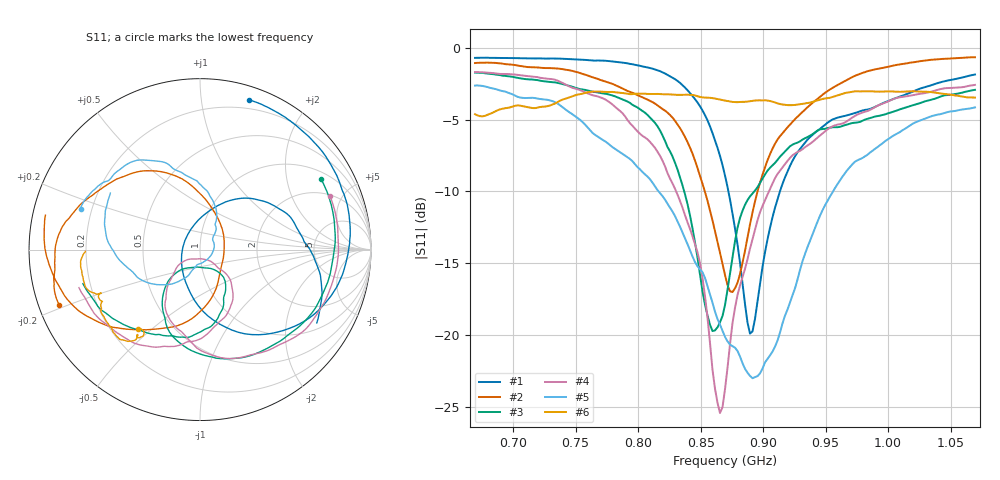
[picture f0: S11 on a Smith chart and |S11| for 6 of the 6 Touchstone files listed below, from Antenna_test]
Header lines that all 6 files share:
#  HZ  S  RI  R  50.00
! Rohde & Schwarz Vector Network Analyzer
! Rohde-Schwarz,ZNB8-2Port,1311601042102944,2.30
! freq[Hz]  re:S22  im:S22
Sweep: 669.5 MHz to 1.069 GHz
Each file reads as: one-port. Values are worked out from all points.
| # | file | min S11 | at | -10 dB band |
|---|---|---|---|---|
| 1 | Dipol.s1p | -19.9 dB | 889.5 MHz | 41.22 MHz wide |
| 2 | Monopol_Long.s1p | -17.0 dB | 875.5 MHz | 42.15 MHz wide |
| 3 | PV_90deg.s1p | -19.7 dB | 859.5 MHz | 56.08 MHz wide |
| 4 | PV_Straight.s1p | -25.4 dB | 865.5 MHz | 74.23 MHz wide |
| 5 | Spiral.s1p | -23.0 dB | 891.5 MHz | 139.6 MHz wide |
| 6 | T3S3_Standard.s1p | -4.8 dB | 675.5 MHz | - |
